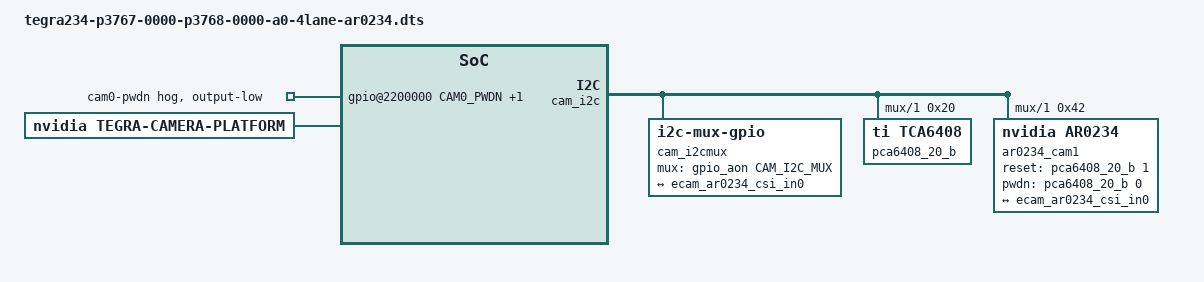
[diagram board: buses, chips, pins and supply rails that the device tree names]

/dts-v1/;
/plugin/;


#define CAM0_PWDN	TEGRA234_MAIN_GPIO(H, 6)
#define CAM1_PWDN	TEGRA234_MAIN_GPIO(AC, 0)
#define CAM_I2C_MUX 	TEGRA234_AON_GPIO(CC, 3)

#include <dt-bindings/clock/tegra234-clock.h>
#include <dt-bindings/gpio/tegra234-gpio.h>


/ {
	overlay-name = "AR0234 Sensor 4lane";
	jetson-header-name = "Jetson 22pin CSI Connector";
	/* Expansion of JETSON_COMPATIBLE_P3768 from the L4T 39.2.1 device tree
	 * sources, copied from the shipped tegra234-p3767-camera-p3768-imx219-C
	 * overlay so this file builds against the kernel headers package alone.
	 * config-by-hardware.py needs one of these to match /proc/device-tree/compatible.
	 */
	compatible = "nvidia,p3768-0000+p3767-0000", "nvidia,p3768-0000+p3767-0001",
		"nvidia,p3768-0000+p3767-0003", "nvidia,p3768-0000+p3767-0004",
		"nvidia,p3768-0000+p3767-0005", "nvidia,p3768-0000+p3767-0000-super",
		"nvidia,p3768-0000+p3767-0001-super", "nvidia,p3768-0000+p3767-0003-super",
		"nvidia,p3768-0000+p3767-0004-super", "nvidia,p3768-0000+p3767-0005-super";
	fragment@0 {
		target-path = "/";
		__overlay__ {
			bus@0 {
				cam_i2cmux{
					compatible = "i2c-mux-gpio";
					status = "okay";
					#address-cells = <1>;
					#size-cells = <0>;
					i2c-parent = <&cam_i2c>;
					mux-gpios = <&gpio_aon CAM_I2C_MUX GPIO_ACTIVE_HIGH>;
					i2c@1 {
						reg = <1>;
						#address-cells = <1>;
						#size-cells = <0>;
						pca6408_20_b: pca6408@20 {
							compatible = "ti,tca6408";
							gpio-controller;
							#gpio-cells = <2>;
							reg = <0x20>;
							//vcc-supply = <&p3768_vdd_3v3_sys>;
							status = "okay";
							pca6408_20_outlow {
								/* LED --> GPIO 7 */
								gpio-hog;
								gpios = < 7 1 >;
								output-low;
								label = "pca6408_20_outlow_7";
							};
						};
						
					};
				};
				gpio@2200000 {
					camera-control-output-low {
						gpio-hog;
						output-low;
						gpios = <CAM0_PWDN 0 CAM1_PWDN 0>;
						label = "cam0-pwdn","cam1-pwdn";
					};
				};
			};
		};
	};
	
	
	fragment@1 {
		target-path = "/";
		__overlay__ {
			tegra-capture-vi {
				num-channels = <1>;
				ports {
					#address-cells = <1>;
					#size-cells = <0>;
					port@0 {
						reg = <0>;
						ecam_ar0234_vi_in0: endpoint {
							port-index = <2>;
							bus-width = <4>;
							remote-endpoint = <&ecam_ar0234_csi_out0>;
						};
					};
				};
			};
			tegra-camera-platform {
				compatible = "nvidia, tegra-camera-platform";
				num_csi_lanes = <4>;
				max_lane_speed = <1500000>;
				min_bits_per_pixel = <16>;
				vi_peak_byte_per_pixel = <2>;
				vi_bw_margin_pct = <25>;
				max_pixel_rate = <240000>;
				isp_peak_byte_per_pixel = <5>;
				isp_bw_margin_pct = <25>;
				modules {
					module0 {
						status = "okay";
						badge = "jakku_front_ar0234";
						position = "front";
						orientation = "1";
						drivernode0 {
							pcl_id = "v4l2_sensor";
							devname = "ecam25_ar0234 9-0042";
							sysfs-device-tree = "/sys/firmware/devicetree/base/bus@0/cam_i2cmux/i2c@1/ecam_ar0234_c@42";
						};
					};
				};
			};
			
			bus@0 {
				
				host1x@13e00000{
					nvcsi@15a00000 {
						num-channels = <1>;
						#address-cells = <1>;
						#size-cells = <0>;
						channel@0 {
							reg = <0>;
							ports {
								#address-cells = <1>;
								#size-cells = <0>;
								port@0 {
									reg = <0>;
									ecam_ar0234_csi_in0: endpoint@0 {
										port-index = <2>;
										bus-width = <4>;
										remote-endpoint = <&ecam_ar0234_out0>;
									};
								};
								port@1 {
									reg = <1>;
									ecam_ar0234_csi_out0: endpoint@1 {
										remote-endpoint = <&ecam_ar0234_vi_in0>;
									};
								};
							};
						};
					};
				};
				cam_i2cmux {
					i2c@1 {
						ar0234_cam1: ecam_ar0234_c@42 {
							compatible = "nvidia,ar0234";
							reg = <0x42>;
							devnode = "video0";
							status = "okay";
							physical_w = "3.680";
							physical_h = "2.760";
							
							sensor_model = "ar0234";
							camera_mipi_lanes = <4>;
							camera-mipi-clk = <1200>;
							disable-framesync;
							reset-gpios = <&pca6408_20_b 1 GPIO_ACTIVE_HIGH>;
							pwdn-gpios  = <&pca6408_20_b 0 GPIO_ACTIVE_HIGH>;// Default use_sensor_mode_id is false
							mode0 {
								mclk_khz = "24000";
								num_lanes = "4";
								tegra_sinterface = "serial_c";
								phy_mode = "DPHY";
								discontinuous_clk = "yes";
								dpcm_enable = "false";
								cil_settletime = "0";
								dynamic_pixel_bit_depth = "16";
								csi_pixel_bit_depth = "16";
								mode_type = "yuv";
								
								active_w = "1280";
								active_h = "720";
								pixel_phase = "uyvy";
								readout_orientation = "90";
								line_length = "1280";
								inherent_gain = "1";
								mclk_multiplier = "12.5";
								pix_clk_hz = "300000000";
								
								min_gain_val = "16";
								max_gain_val = "170"; /* 10.66x */
								step_gain_val = "1";
								default_gain = "16"; /* 1.00x */
								min_hdr_ratio = "1";
								max_hdr_ratio = "1";
								min_framerate = "2000000"; /* 2.0 fps */
								max_framerate = "120000000";
								step_framerate = "1";
								default_framerate = "120000000";
								min_exp_time = "13"; /* us */
								max_exp_time = "683709"; /* us */
								
								embedded_metadata_height = "0";
							};
							mode1 { /* AR0234_MODE_1920x1080_65FPS */
								mclk_khz = "24000";
								num_lanes = "4";
								tegra_sinterface = "serial_c";
								phy_mode = "DPHY";
								discontinuous_clk = "yes";
								dpcm_enable = "false";
								cil_settletime = "0";
								dynamic_pixel_bit_depth = "16";
								csi_pixel_bit_depth = "16";
								active_w = "1920";
								active_h = "1080";
								pixel_phase = "uyvy";
								mode_type = "yuv";
								/*pixel_t = "bayer_rggb";*/
								readout_orientation = "90";
								line_length = "1920";
								inherent_gain = "1";
								mclk_multiplier = "12.5";
								pix_clk_hz = "300000000";
								
								min_gain_val = "16";
								max_gain_val = "170";
								step_gain_val = "1";
								default_gain = "16";
								min_hdr_ratio = "1";
								max_hdr_ratio = "1";
								min_framerate = "2000000"; /* 2.0 fps */
								max_framerate = "120000000"; /* 28.0 fps */
								default_framerate = "70000000"; /* 60.0 fps */
								step_framerate = "1";
								min_exp_time = "13";
								max_exp_time = "683709";
								step_exp_time = "1";
								default_exp_time = "2495";
								embedded_metadata_height = "0";
							};
							mode2 { /* AR0234_MODE_1920x1200_60FPS */
								mclk_khz = "24000";
								num_lanes = "4";
								tegra_sinterface = "serial_c";
								phy_mode = "DPHY";
								discontinuous_clk = "yes";
								dpcm_enable = "false";
								cil_settletime = "0";
								csi_pixel_bit_depth = "16";
								active_w = "1920";
								active_h = "1200";
								/*pixel_t = "uyvy";*/
								pixel_phase = "uyvy";
								mode_type = "yuv";
								readout_orientation = "90";
								line_length = "1920";
								inherent_gain = "1";
								mclk_multiplier = "12.5";
								pix_clk_hz = "300000000";
								
								gain_factor = "16";
								default_gain = "16";
								step_gain_val = "1";
								framerate_factor = "1000000";
								exposure_factor = "1000000";
								min_gain_val = "16";
								max_gain_val = "170"; /* 10.66x */
								min_hdr_ratio = "1";
								max_hdr_ratio = "1";
								min_framerate = "2000000"; /* 2.0 fps */
								max_framerate = "120000000"; /* 60.0 fps */
								default_framerate = "60000000"; /* 60.0 fps */
								step_framerate = "1";
								min_exp_time = "13"; /* us */
								max_exp_time = "683709"; /* us */
								step_exp_time = "1";
								default_exp_time = "2495";
								embedded_metadata_height = "0";
							};
							
							ports {
								#address-cells = <1>;
								#size-cells = <0>;
								port@0 {
									reg = <0>;
									ecam_ar0234_out0: endpoint {
										status = "okay";
										port-index = <2>;
										bus-width = <4>;
										remote-endpoint = <&ecam_ar0234_csi_in0>;
									};
								};
							};
						};
					};
				};
				
			};
		};
	};
};


